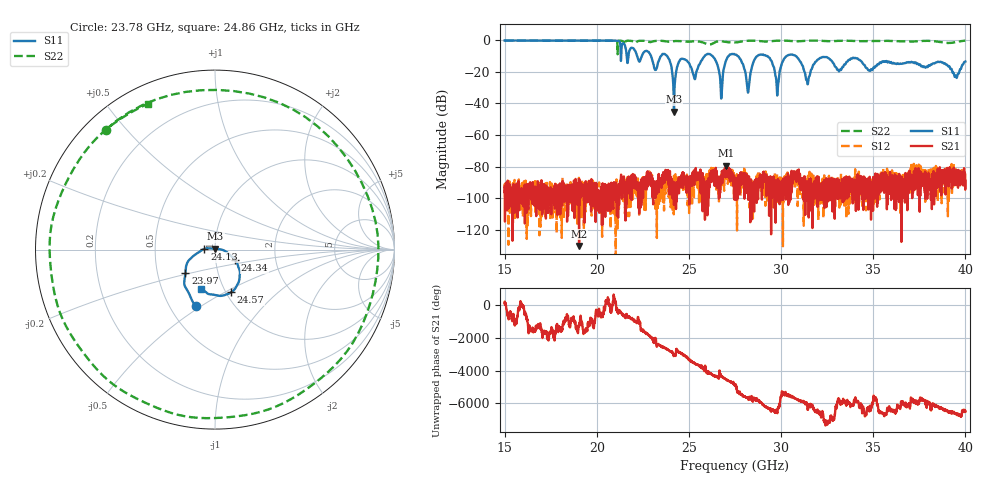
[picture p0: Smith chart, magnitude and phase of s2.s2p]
#  HZ  S  RI  R  50.00
! Rohde & Schwarz Vector Network Analyzer
! Rohde-Schwarz,ZNA43-4Port,1332450044101932,2.92
! Created: UTC 4/16/2025, 7:30:10 AM
! freq[Hz]  re:S11  im:S11  re:S21  im:S21  re:S12  im:S12  re:S22  im:S22
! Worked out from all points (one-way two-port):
!   2501 points, 15 GHz to 40 GHz, reference 50 ohm
!   highest |S21| = -79.37 dB at 27.03 GHz (marker M1); lowest = -130.1 dB at 19.04 GHz (marker M2)
!   lowest |S11| = -45.2 dB at 24.19 GHz (marker M3), VSWR 1.01, Z = 50.2 + j0.506 ohm
!   |S11| at or under -10 dB: 23.81 GHz to 25.86 GHz (2.042 GHz wide, 8.22 % of centre); 27.64 GHz to 28.72 GHz (1.088 GHz wide, 3.86 % of centre); 30.79 GHz to end of sweep (the widest 3 of 10)
!   |S22| runs from -8.9 to -0.2 dB; largest |S21 - S12| = 0.00017
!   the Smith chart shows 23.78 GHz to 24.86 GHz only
!   S11 on the Smith chart (normalised r, x): 23.78 GHz: 0.68, -0.48; 23.97 GHz: 0.70, -0.19; 24.13 GHz: 0.89, +0.01; 24.34 GHz: 1.24, -0.15; 24.57 GHz: 1.06, -0.54; 24.86 GHz: 0.78, -0.36
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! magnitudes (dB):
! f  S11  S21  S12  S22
! 15 GHz  -0.2  -96.1  -93.3  -0.3
! 19.04 GHz  -0.3  -130.1  -110.6  -0.3
! 19.17 GHz  -0.3  -98.6  -105.4  -0.3
! 23.34 GHz  -13.6  -93.7  -93.2  -0.4
! 23.78 GHz  -9.6  -83.9  -87.9  -0.9
! 23.97 GHz  -13.5  -82.7  -92.4  -1.0
! 24.13 GHz  -24.6  -91.1  -93.7  -0.6
! 24.19 GHz  -45.2  -104.3  -85.7  -0.6
! 24.34 GHz  -17.9  -89.6  -90.1  -0.5
! 24.57 GHz  -11.9  -86.3  -91.4  -0.6
! 24.86 GHz  -12.7  -94.9  -90.3  -1.0
! 26.19 GHz  -9.3  -85.9  -85.8  -2.7
! 26.75 GHz  -36.9  -88.3  -90.7  -0.7
! 27.03 GHz  -12.6  -79.4  -82.4  -1.2
! 27.5 GHz  -9.1  -89.5  -89.9  -1.5
! 28.2 GHz  -33.0  -97.3  -88.4  -0.4
! 28.86 GHz  -9.2  -85.0  -93.6  -0.7
! 29.78 GHz  -33.9  -91.7  -84.7  -0.4
! 30.41 GHz  -9.4  -95.8  -101.4  -0.4
! 31.67 GHz  -18.0  -95.6  -93.8  -0.3
! 35.84 GHz  -13.5  -89.1  -87.9  -0.5
! 40 GHz  -13.5  -88.9  -88.0  -0.3
